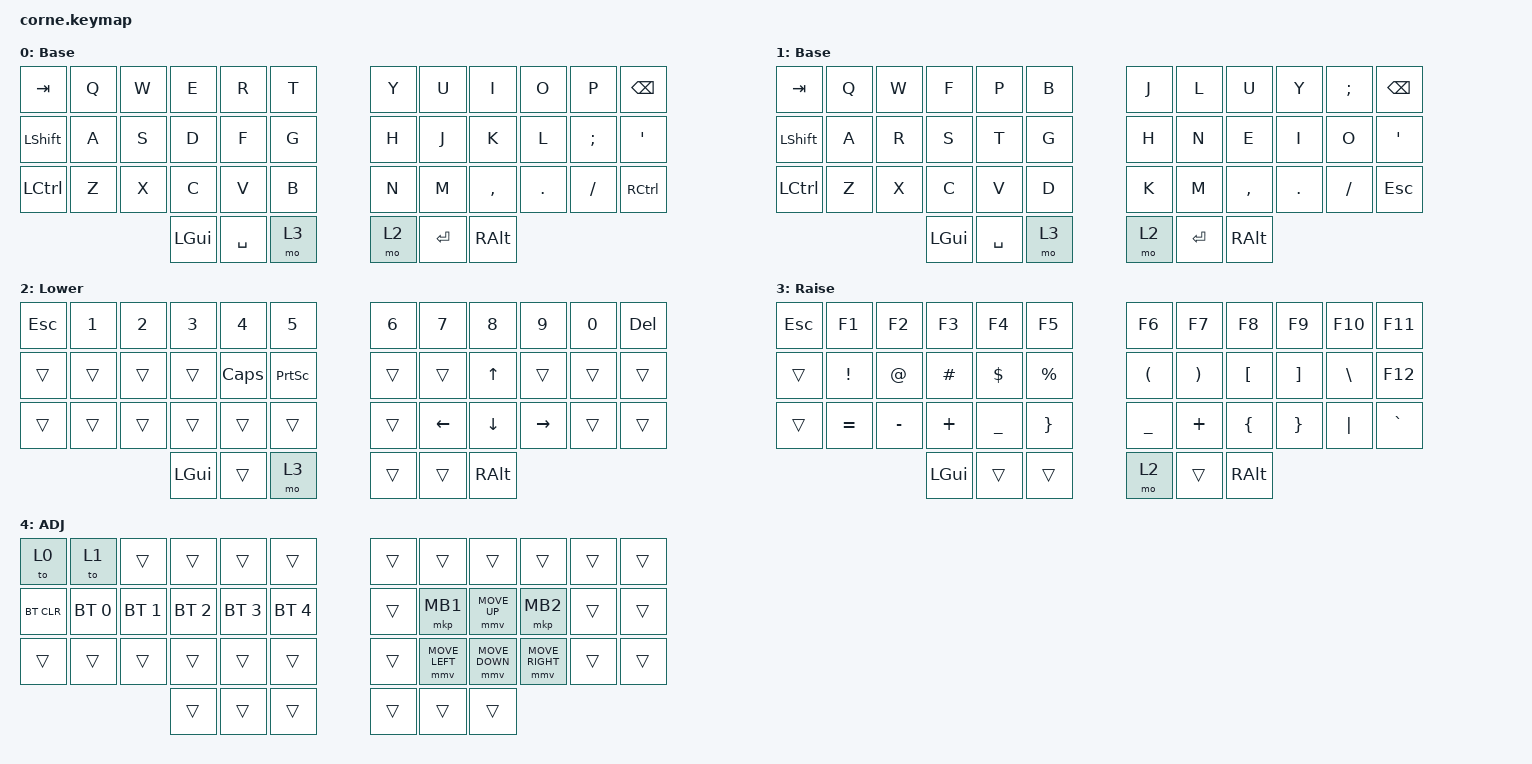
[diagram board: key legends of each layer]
/*
 * Copyright (c) 2020 The ZMK Contributors
 *
 * SPDX-License-Identifier: MIT
 */

#define ZMK_POINTING_DEFAULT_MOVE_VAL 1500  // default: 600
#define ZMK_POINTING_DEFAULT_SCRL_VAL 20    // default: 10

#include <behaviors.dtsi>
#include <dt-bindings/zmk/bt.h>
#include <dt-bindings/zmk/keys.h>
#include <dt-bindings/zmk/pointing.h>
#include <dt-bindings/zmk/pointing.h>

&mmv {
    time-to-max-speed-ms = <500>;
    acceleration-exponent = <2>;
};

/ {
    keymap {
        compatible = "zmk,keymap";

        qwerty {
            // -----------------------------------------------------------------------------------------
            // |  TAB |  Q  |  W  |  E  |  R  |  T  |   |  Y  |  U   |  I  |  O  |  P  | BKSP |
            // | CTRL |  A  |  S  |  D  |  F  |  G  |   |  H  |  J   |  K  |  L  |  ;  |  '   |
            // | SHFT |  Z  |  X  |  C  |  V  |  B  |   |  N  |  M   |  ,  |  .  |  /  | ESC  |
            //                    | GUI | LWR | SPC |   | ENT | RSE  | ALT |

            display-name = "Base";
            bindings = <
&kp TAB         &kp Q  &kp W  &kp E     &kp R      &kp T    &kp Y  &kp U      &kp I      &kp O    &kp P     &kp BSPC
&kp LEFT_SHIFT  &kp A  &kp S  &kp D     &kp F      &kp G    &kp H  &kp J      &kp K      &kp L    &kp SEMI  &kp SQT
&kp LCTRL       &kp Z  &kp X  &kp C     &kp V      &kp B    &kp N  &kp M      &kp COMMA  &kp DOT  &kp FSLH  &kp RIGHT_CONTROL
                              &kp LGUI  &kp SPACE  &mo 3    &mo 2  &kp ENTER  &kp RALT
            >;
        };

        colemak {
            display-name = "Base";
            bindings = <
&kp TAB         &kp Q  &kp W  &kp F     &kp P      &kp B    &kp J  &kp L      &kp U      &kp Y    &kp SEMICOLON  &kp BSPC
&kp LEFT_SHIFT  &kp A  &kp R  &kp S     &kp T      &kp G    &kp H  &kp N      &kp E      &kp I    &kp O          &kp SQT
&kp LCTRL       &kp Z  &kp X  &kp C     &kp V      &kp D    &kp K  &kp M      &kp COMMA  &kp DOT  &kp FSLH       &kp ESC
                              &kp LGUI  &kp SPACE  &mo 3    &mo 2  &kp ENTER  &kp RALT
            >;
        };

        lower_layer {
            // -----------------------------------------------------------------------------------------
            // |  TAB |  1  |  2  |  3  |  4  |  5  |   |  6  |  7  |  8  |  9  |  0  | BKSP |
            // | BTCLR| BT1 | BT2 | BT3 | BT4 | BT5 |   | LFT | DWN |  UP | RGT |     |      |
            // | SHFT |     |     |     |     |     |   |     |     |     |     |     |      |
            //                    | GUI |     | SPC |   | ENT |     | ALT |

            display-name = "Lower";
            bindings = <
&kp ESCAPE  &kp NUMBER_1  &kp NUMBER_2  &kp NUMBER_3  &kp NUMBER_4  &kp NUMBER_5       &kp NUMBER_6  &kp NUMBER_7    &kp NUMBER_8    &kp NUMBER_9     &kp NUMBER_0  &kp DELETE
&trans      &trans        &trans        &trans        &kp CAPS      &kp PRINTSCREEN    &trans        &trans          &kp UP          &trans           &trans        &trans
&trans      &trans        &trans        &trans        &trans        &trans             &trans        &kp LEFT_ARROW  &kp DOWN_ARROW  &kp RIGHT_ARROW  &trans        &trans
                                        &kp LGUI      &trans        &mo 3              &trans        &trans          &kp RALT
            >;
        };

        raise_layer {
            // -----------------------------------------------------------------------------------------
            // |  TAB |  !  |  @  |  #  |  $  |  %  |   |  ^  |  &  |  *  |  (  |  )  | BKSP |
            // | CTRL |     |     |     |     |     |   |  -  |  =  |  [  |  ]  |  \  |  `   |
            // | SHFT |     |     |     |     |     |   |  _  |  +  |  {  |  }  | "|" |  ~   |
            //                    | GUI |     | SPC |   | ENT |     | ALT |

            display-name = "Raise";
            bindings = <
&kp ESCAPE  &kp F1           &kp F2       &kp F3    &kp F4          &kp F5             &kp F6     &kp F7    &kp F8    &kp F9    &kp F10   &kp F11
&trans      &kp EXCLAMATION  &kp AT_SIGN  &kp HASH  &kp DOLLAR      &kp PERCENT        &kp LPAR   &kp RPAR  &kp LBKT  &kp RBKT  &kp BSLH  &kp F12
&trans      &kp EQUAL        &kp MINUS    &kp PLUS  &kp UNDERSCORE  &kp RIGHT_BRACE    &kp UNDER  &kp PLUS  &kp LBRC  &kp RBRC  &kp PIPE  &kp GRAVE
                                          &kp LGUI  &trans          &trans             &mo 2      &trans    &kp RALT
            >;
        };

        ADJ {
            bindings = <
&to 0       &to 1         &trans        &trans        &trans        &trans          &trans  &trans          &trans          &trans           &trans  &trans
&bt BT_CLR  &bt BT_SEL 0  &bt BT_SEL 1  &bt BT_SEL 2  &bt BT_SEL 3  &bt BT_SEL 4    &trans  &mkp MB1        &mmv MOVE_UP    &mkp MB2         &trans  &trans
&trans      &trans        &trans        &trans        &trans        &trans          &trans  &mmv MOVE_LEFT  &mmv MOVE_DOWN  &mmv MOVE_RIGHT  &trans  &trans
                                        &trans        &trans        &trans          &trans  &trans          &trans
            >;
        };

        extra_1 {
                status = "reserved";
        };

        extra_2 {
                status = "reserved";
        };

        extra_3 {
                status = "reserved";
        };
    };

    conditional_layers {
        compatible = "zmk,conditional-layers";

        adj {
            if-layers = <2 3>;
            then-layer = <4>;
        };
    };
};
